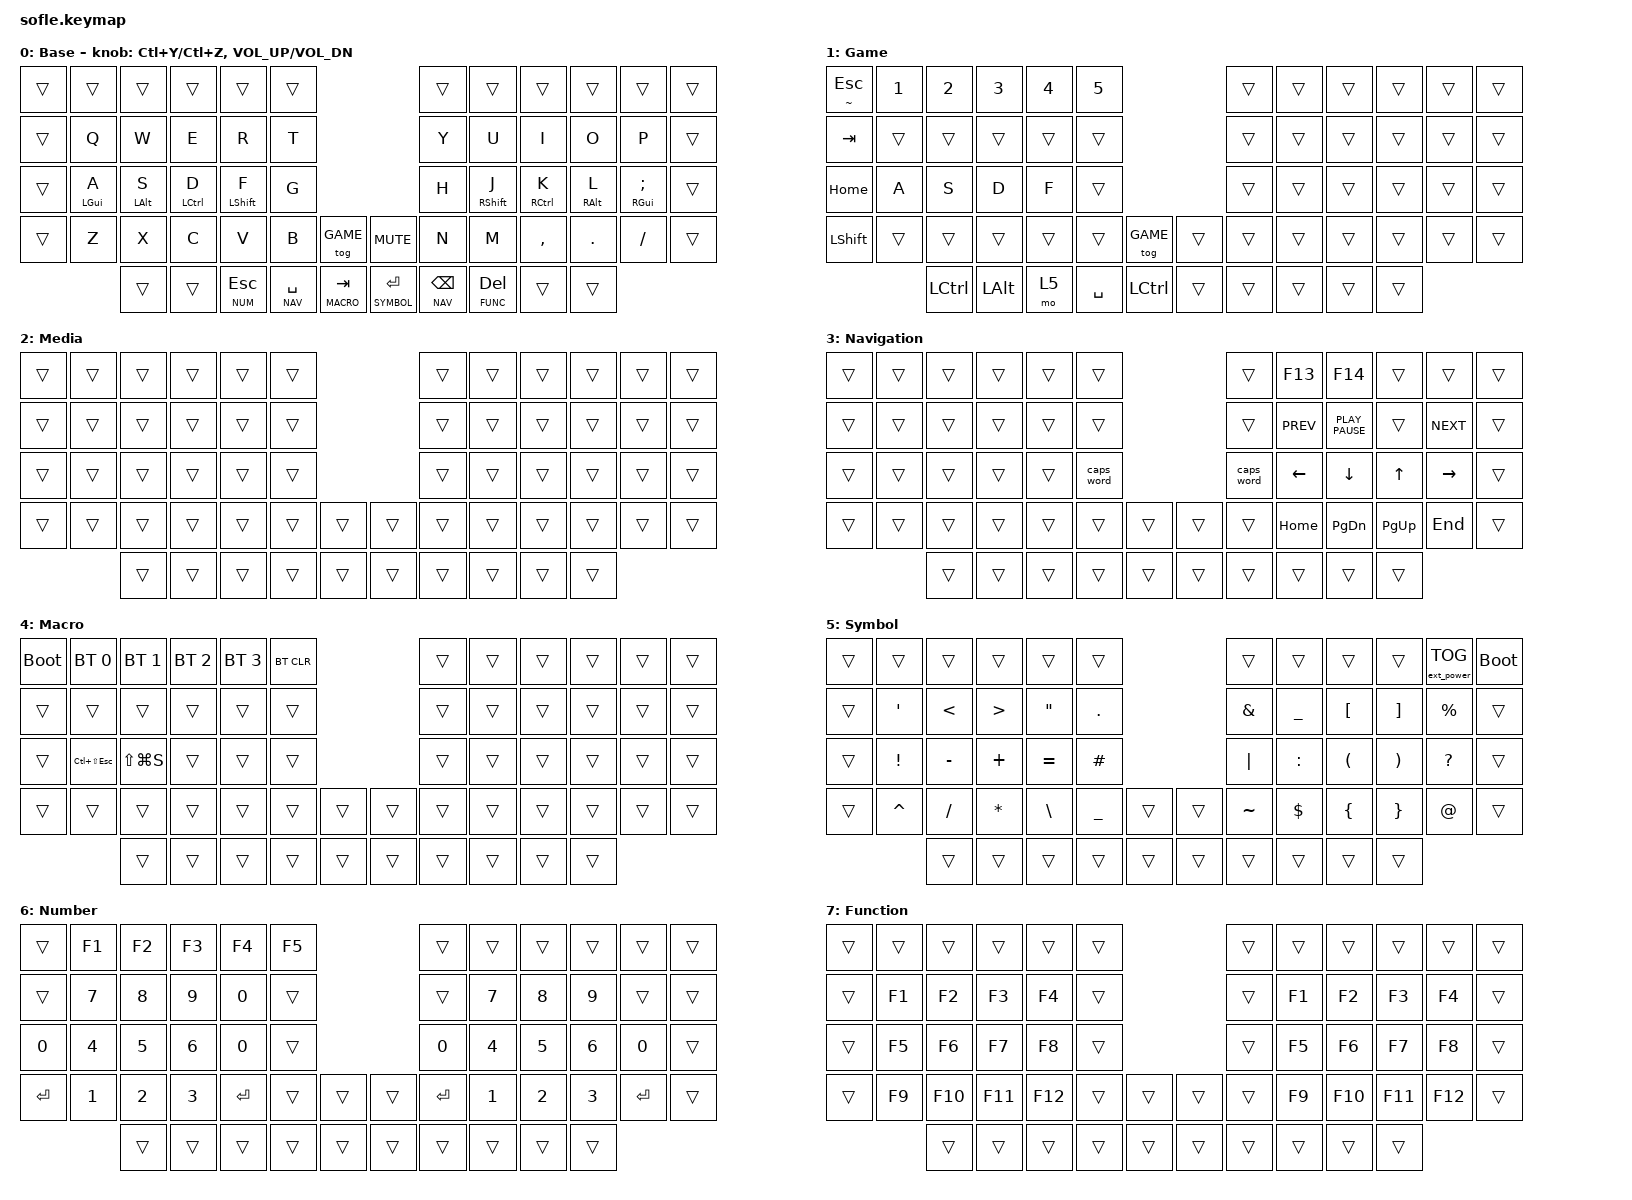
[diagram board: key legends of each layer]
/*
 * Copyright (c) 2020 The ZMK Contributors
 *
 * SPDX-License-Identifier: MIT
 */
// Define layer numbers

#define ___ &trans
#define BASE 0
#define GAME 1
#define MEDIA 2
#define NAV 3
#define MACRO 4
#define SYMBOL 5
#define NUM 6
#define FUNC 7

// ZMK includes

#include <behaviors.dtsi>
#include <dt-bindings/zmk/bt.h>
#include <dt-bindings/zmk/ext_power.h>
#include <dt-bindings/zmk/keys.h>

/ {
    behaviors {
        hrm: hrm {
            label = "hrm";
            compatible = "zmk,behavior-hold-tap";
            #binding-cells = <2>;
            flavor = "balanced";
            tapping-term-ms = <280>;
            quick-tap-ms = <125>;
            global-quick-tap;
            bindings = <&kp>, <&kp>;
        };
    };

    sensors { triggers-per-rotation = <20>; };
};

&nice_view_spi { cs-gpios = <&pro_micro 0 GPIO_ACTIVE_HIGH>; };

&left_encoder { steps = <80>; };

&right_encoder { steps = <80>; };

/ {
    keymap {
        compatible = "zmk,keymap";

        default_layer {
            label = "Base";
            bindings = <
&trans  &trans       &trans       &trans        &trans             &trans                                            &trans             &trans              &trans        &trans       &trans          &trans
&trans  &kp Q        &kp W        &kp E         &kp R              &kp T                                             &kp Y              &kp U               &kp I         &kp O        &kp P           &trans
&trans  &hrm LGUI A  &hrm LALT S  &hrm LCTRL D  &hrm LEFT_SHIFT F  &kp G                                             &kp H              &hrm RIGHT_SHIFT J  &hrm RCTRL K  &hrm RALT L  &hrm RGUI SEMI  &trans
&trans  &kp Z        &kp X        &kp C         &kp V              &kp B          &tog GAME        &kp C_MUTE        &kp N              &kp M               &kp COMMA     &kp DOT      &kp FSLH        &trans
                     &trans       &trans        &lt NUM ESCAPE     &lt NAV SPACE  &lt MACRO TAB    &lt SYMBOL ENTER  &lt NAV BACKSPACE  &lt FUNC DEL        &trans        &trans
            >;

            sensor-bindings = <&inc_dec_kp LC(Y) LC(Z) &inc_dec_kp C_VOLUME_UP C_VOL_DN>;
        };

        game {
            label = "Game";
            bindings = <
&hrm TILDE ESCAPE  &kp NUMBER_1  &kp NUMBER_2      &kp NUMBER_3  &kp NUMBER_4  &kp NUMBER_5                       &trans  &trans  &trans  &trans  &trans  &trans
&kp TAB            &trans        &trans            &trans        &trans        &trans                             &trans  &trans  &trans  &trans  &trans  &trans
&kp HOME           &kp A         &kp S             &kp D         &kp F         &trans                             &trans  &trans  &trans  &trans  &trans  &trans
&kp LEFT_SHIFT     &trans        &trans            &trans        &trans        &trans        &tog GAME    &trans  &trans  &trans  &trans  &trans  &trans  &trans
                                 &kp LEFT_CONTROL  &kp LEFT_ALT  &mo 5         &kp SPACE     &kp LCTRL    &trans  &trans  &trans  &trans  &trans
            >;
        };

        media {
            label = "Media";
            bindings = <
&trans  &trans  &trans  &trans  &trans  &trans                    &trans  &trans  &trans  &trans  &trans  &trans
&trans  &trans  &trans  &trans  &trans  &trans                    &trans  &trans  &trans  &trans  &trans  &trans
&trans  &trans  &trans  &trans  &trans  &trans                    &trans  &trans  &trans  &trans  &trans  &trans
&trans  &trans  &trans  &trans  &trans  &trans  &trans    &trans  &trans  &trans  &trans  &trans  &trans  &trans
                &trans  &trans  &trans  &trans  &trans    &trans  &trans  &trans  &trans  &trans
            >;
        };

        nav {
            label = "Navigation";
            bindings = <
&trans  &trans  &trans  &trans  &trans  &trans                        &trans      &kp F13     &kp F14           &trans     &trans      &trans
&trans  &trans  &trans  &trans  &trans  &trans                        &trans      &kp K_PREV  &kp K_PLAY_PAUSE  &trans     &kp K_NEXT  &trans
&trans  &trans  &trans  &trans  &trans  &caps_word                    &caps_word  &kp LEFT    &kp DOWN          &kp UP     &kp RIGHT   &trans
&trans  &trans  &trans  &trans  &trans  &trans      &trans    &trans  &trans      &kp HOME    &kp PG_DN         &kp PG_UP  &kp END     &trans
                &trans  &trans  &trans  &trans      &trans    &trans  &trans      &trans      &trans            &trans
            >;
        };

        macro {
            label = "Macro";
            bindings = <
&bootloader  &bt BT_SEL 0        &bt BT_SEL 1   &bt BT_SEL 2  &bt BT_SEL 3  &bt BT_CLR                    &trans  &trans  &trans  &trans  &trans  &trans
&trans       &trans              &trans         &trans        &trans        &trans                        &trans  &trans  &trans  &trans  &trans  &trans
&trans       &kp LC(LS(ESCAPE))  &kp LS(LG(S))  &trans        &trans        &trans                        &trans  &trans  &trans  &trans  &trans  &trans
&trans       &trans              &trans         &trans        &trans        &trans      &trans    &trans  &trans  &trans  &trans  &trans  &trans  &trans
                                 &trans         &trans        &trans        &trans      &trans    &trans  &trans  &trans  &trans  &trans
            >;
        };

        symbol {
            label = "Symbol";
            bindings = <
&trans  &trans            &trans         &trans            &trans             &trans                        &trans     &trans      &trans                &trans                 &ext_power EP_TOG  &bootloader
&trans  &kp SINGLE_QUOTE  &kp LESS_THAN  &kp GREATER_THAN  &kp DOUBLE_QUOTES  &kp PERIOD                    &kp AMPS   &kp UNDER   &kp LEFT_BRACKET      &kp RIGHT_BRACKET      &kp PERCENT        &trans
&trans  &kp EXCL          &kp MINUS      &kp PLUS          &kp EQUAL          &kp HASH                      &kp PIPE   &kp COLON   &kp LEFT_PARENTHESIS  &kp RIGHT_PARENTHESIS  &kp QUESTION       &trans
&trans  &kp CARET         &kp SLASH      &kp STAR          &kp BACKSLASH      &kp UNDER   &trans    &trans  &kp TILDE  &kp DOLLAR  &kp LEFT_BRACE        &kp RIGHT_BRACE        &kp AT             &trans
                          &trans         &trans            &trans             &trans      &trans    &trans  &trans     &trans      &trans                &trans
            >;
        };

        number {
            label = "Number";
            bindings = <
&trans        &kp F1        &kp F2        &kp F3        &kp F4        &kp F5                    &trans        &trans        &trans        &trans        &trans        &trans
&trans        &kp NUMBER_7  &kp NUMBER_8  &kp NUMBER_9  &kp NUMBER_0  &trans                    &trans        &kp NUMBER_7  &kp NUMBER_8  &kp NUMBER_9  &trans        &trans
&kp NUMBER_0  &kp NUMBER_4  &kp NUMBER_5  &kp NUMBER_6  &kp NUMBER_0  &trans                    &kp NUMBER_0  &kp NUMBER_4  &kp NUMBER_5  &kp NUMBER_6  &kp NUMBER_0  &trans
&kp ENTER     &kp NUMBER_1  &kp NUMBER_2  &kp NUMBER_3  &kp ENTER     &trans  &trans    &trans  &kp ENTER     &kp NUMBER_1  &kp NUMBER_2  &kp NUMBER_3  &kp ENTER     &trans
                            &trans        &trans        &trans        &trans  &trans    &trans  &trans        &trans        &trans        &trans
            >;
        };

        function {
            label = "Function";
            bindings = <
&trans  &trans  &trans   &trans   &trans   &trans                    &trans  &trans  &trans   &trans   &trans   &trans
&trans  &kp F1  &kp F2   &kp F3   &kp F4   &trans                    &trans  &kp F1  &kp F2   &kp F3   &kp F4   &trans
&trans  &kp F5  &kp F6   &kp F7   &kp F8   &trans                    &trans  &kp F5  &kp F6   &kp F7   &kp F8   &trans
&trans  &kp F9  &kp F10  &kp F11  &kp F12  &trans  &trans    &trans  &trans  &kp F9  &kp F10  &kp F11  &kp F12  &trans
                &trans   &trans   &trans   &trans  &trans    &trans  &trans  &trans  &trans   &trans
            >;
        };
    };
};
